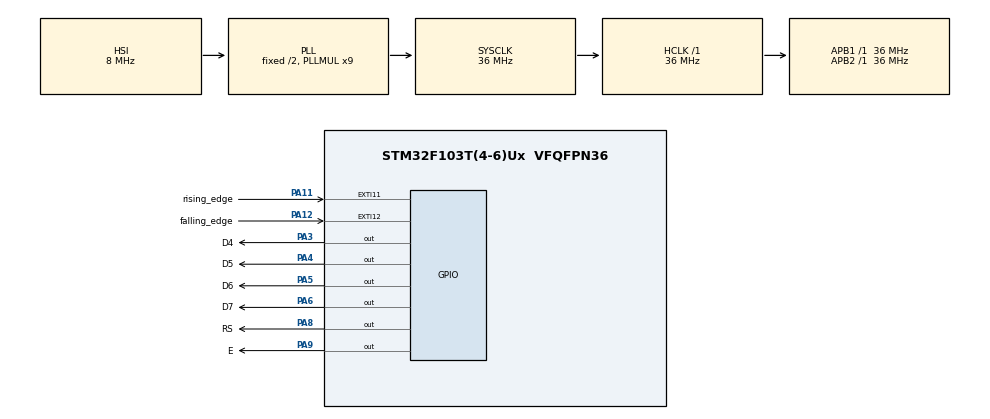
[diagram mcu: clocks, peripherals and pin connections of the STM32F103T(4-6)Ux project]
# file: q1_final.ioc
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Mcu.Family=STM32F1
Mcu.Name=STM32F103T(4-6)Ux
Mcu.Package=VFQFPN36
NVIC.EXTI15_10_IRQn=true\:0\:0\:false\:false\:true\:true\:true\:true
NVIC.PriorityGroup=NVIC_PRIORITYGROUP_4
PA11.GPIO_Label=rising_edge
PA11.Signal=GPXTI11
PA12.GPIO_Label=falling_edge
PA12.GPIO_ModeDefaultEXTI=GPIO_MODE_IT_FALLING
PA12.Signal=GPXTI12
PA3.GPIO_Label=D4
PA3.Signal=GPIO_Output
PA4.GPIO_Label=D5
PA4.Signal=GPIO_Output
PA5.GPIO_Label=D6
PA5.Signal=GPIO_Output
PA6.GPIO_Label=D7
PA6.Signal=GPIO_Output
PA8.GPIO_Label=RS
PA8.Signal=GPIO_Output
PA9.GPIO_Label=E
PA9.Signal=GPIO_Output
ProjectManager.HeapSize=0x200
ProjectManager.StackSize=0x400
ProjectManager.TargetToolchain=STM32CubeIDE
RCC.AHBFreq_Value=36000000
RCC.APB1Freq_Value=36000000
RCC.APB1TimFreq_Value=36000000
RCC.APB2Freq_Value=36000000
RCC.APB2TimFreq_Value=36000000
RCC.HCLKFreq_Value=36000000
RCC.PLLMUL=RCC_PLL_MUL9
RCC.SYSCLKFreq_VALUE=36000000
RCC.SYSCLKSource=RCC_SYSCLKSOURCE_PLLCLK
RCC.USBFreq_Value=36000000
TIM2.Period=65534
TIM2.Prescaler=35
VP_SYS_VS_ND.Mode=No_Debug
VP_TIM2_VS_ClockSourceINT.Mode=Internal
board=custom

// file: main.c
/* USER CODE BEGIN Header */
/**
  ******************************************************************************
  * @file           : main.c
  * @brief          : Main program body
  ******************************************************************************
  * @attention
  *
  * Copyright (c) 2022 STMicroelectronics.
  * All rights reserved.
  *
  * This software is licensed under terms that can be found in the LICENSE file
  * in the root directory of this software component.
  * If no LICENSE file comes with this software, it is provided AS-IS.
  *
  ******************************************************************************
  */
/* USER CODE END Header */
#include "main.h"

/* USER CODE BEGIN Includes */
#include "lcd.h"
#include "stdio.h"
/* USER CODE END Includes */

 TIM_HandleTypeDef htim2;

/* USER CODE BEGIN PV */
 uint16_t condition1 = 0;
 uint16_t first_value;
 uint16_t second_value;
 uint16_t difference;
/* USER CODE END PV */

void SystemClock_Config(void);
static void MX_GPIO_Init(void);
static void MX_TIM2_Init(void);

int main(void)
{

  /* MCU Configuration--------------------------------------------------------*/

  /* Reset of all peripherals, Initializes the Flash interface and the Systick. */
  HAL_Init();

  /* Configure the system clock */
  SystemClock_Config();

  /* Initialize all configured peripherals */
  MX_GPIO_Init();
  MX_TIM2_Init();
  /* USER CODE BEGIN 2 */
  HAL_TIM_Base_Start(&htim2);
  Lcd_PortType ports [] = {
           		D4_GPIO_Port, D5_GPIO_Port, D6_GPIO_Port, D7_GPIO_Port
         };
         Lcd_PinType pins [] = {
           	   D4_Pin, D5_Pin, D6_Pin, D7_Pin
         };

         Lcd_HandleTypeDef lcd = Lcd_create(ports, pins, RS_GPIO_Port, RS_Pin, E_GPIO_Port, E_Pin, LCD_4_BIT_MODE);
  /* USER CODE END 2 */

  /* Infinite loop */
  /* USER CODE BEGIN WHILE */
         int condition2 = 0;

  while (1)
  {
    /* USER CODE END WHILE */

    /* USER CODE BEGIN 3 */
	  if (condition1 == 1){
	  		  if (condition2 == 0)
	  		  {

	  			first_value = __HAL_TIM_GET_COUNTER(&htim2);
	  			condition2 = 1;

	  		  }
	  }
	  if (condition1 == 0){
	  		  if (condition2 == 1)
	  		  {

	  			  second_value = __HAL_TIM_GET_COUNTER(&htim2);
	  			  if (second_value > first_value)
	  				  difference = second_value - first_value;
	  			  Lcd_clear(&lcd);
	  			  Lcd_cursor(&lcd, 0, 0);
	  			  Lcd_float(&lcd, difference / 2);
	  			  Lcd_cursor(&lcd, 1, 0);
	  			  Lcd_float(&lcd, (0.03448 * (difference / 2)));
	  			  condition2 = 0;
	  		  }
	  }
  }
  /* USER CODE END 3 */
}

void SystemClock_Config(void)
{
  RCC_OscInitTypeDef RCC_OscInitStruct = {0};
  RCC_ClkInitTypeDef RCC_ClkInitStruct = {0};

  /** Initializes the RCC Oscillators according to the specified parameters
  * in the RCC_OscInitTypeDef structure.
  */
  RCC_OscInitStruct.OscillatorType = RCC_OSCILLATORTYPE_HSI;
  RCC_OscInitStruct.HSIState = RCC_HSI_ON;
  RCC_OscInitStruct.HSICalibrationValue = RCC_HSICALIBRATION_DEFAULT;
  RCC_OscInitStruct.PLL.PLLState = RCC_PLL_ON;
  RCC_OscInitStruct.PLL.PLLSource = RCC_PLLSOURCE_HSI_DIV2;
  RCC_OscInitStruct.PLL.PLLMUL = RCC_PLL_MUL9;
  if (HAL_RCC_OscConfig(&RCC_OscInitStruct) != HAL_OK)
  {
    Error_Handler();
  }

  /** Initializes the CPU, AHB and APB buses clocks
  */
  RCC_ClkInitStruct.ClockType = RCC_CLOCKTYPE_HCLK|RCC_CLOCKTYPE_SYSCLK
                              |RCC_CLOCKTYPE_PCLK1|RCC_CLOCKTYPE_PCLK2;
  RCC_ClkInitStruct.SYSCLKSource = RCC_SYSCLKSOURCE_PLLCLK;
  RCC_ClkInitStruct.AHBCLKDivider = RCC_SYSCLK_DIV1;
  RCC_ClkInitStruct.APB1CLKDivider = RCC_HCLK_DIV1;
  RCC_ClkInitStruct.APB2CLKDivider = RCC_HCLK_DIV1;

  if (HAL_RCC_ClockConfig(&RCC_ClkInitStruct, FLASH_LATENCY_1) != HAL_OK)
  {
    Error_Handler();
  }
}

static void MX_TIM2_Init(void)
{

  TIM_ClockConfigTypeDef sClockSourceConfig = {0};
  TIM_MasterConfigTypeDef sMasterConfig = {0};

  htim2.Instance = TIM2;
  htim2.Init.Prescaler = 35;
  htim2.Init.CounterMode = TIM_COUNTERMODE_UP;
  htim2.Init.Period = 65534;
  htim2.Init.ClockDivision = TIM_CLOCKDIVISION_DIV1;
  htim2.Init.AutoReloadPreload = TIM_AUTORELOAD_PRELOAD_DISABLE;
  if (HAL_TIM_Base_Init(&htim2) != HAL_OK)
  {
    Error_Handler();
  }
  sClockSourceConfig.ClockSource = TIM_CLOCKSOURCE_INTERNAL;
  if (HAL_TIM_ConfigClockSource(&htim2, &sClockSourceConfig) != HAL_OK)
  {
    Error_Handler();
  }
  sMasterConfig.MasterOutputTrigger = TIM_TRGO_RESET;
  sMasterConfig.MasterSlaveMode = TIM_MASTERSLAVEMODE_DISABLE;
  if (HAL_TIMEx_MasterConfigSynchronization(&htim2, &sMasterConfig) != HAL_OK)
  {
    Error_Handler();
  }

}

static void MX_GPIO_Init(void)
{
  GPIO_InitTypeDef GPIO_InitStruct = {0};

  /* GPIO Ports Clock Enable */
  __HAL_RCC_GPIOA_CLK_ENABLE();

  /*Configure GPIO pin Output Level */
  HAL_GPIO_WritePin(GPIOA, D4_Pin|D5_Pin|D6_Pin|D7_Pin
                          |RS_Pin|E_Pin, GPIO_PIN_RESET);

  /*Configure GPIO pins : D4_Pin D5_Pin D6_Pin D7_Pin
                           RS_Pin E_Pin */
  GPIO_InitStruct.Pin = D4_Pin|D5_Pin|D6_Pin|D7_Pin
                          |RS_Pin|E_Pin;
  GPIO_InitStruct.Mode = GPIO_MODE_OUTPUT_PP;
  GPIO_InitStruct.Pull = GPIO_NOPULL;
  GPIO_InitStruct.Speed = GPIO_SPEED_FREQ_LOW;
  HAL_GPIO_Init(GPIOA, &GPIO_InitStruct);

  /*Configure GPIO pin : rising_edge_Pin */
  GPIO_InitStruct.Pin = rising_edge_Pin;
  GPIO_InitStruct.Mode = GPIO_MODE_IT_RISING;
  GPIO_InitStruct.Pull = GPIO_NOPULL;
  HAL_GPIO_Init(rising_edge_GPIO_Port, &GPIO_InitStruct);

  /*Configure GPIO pin : falling_edge_Pin */
  GPIO_InitStruct.Pin = falling_edge_Pin;
  GPIO_InitStruct.Mode = GPIO_MODE_IT_FALLING;
  GPIO_InitStruct.Pull = GPIO_NOPULL;
  HAL_GPIO_Init(falling_edge_GPIO_Port, &GPIO_InitStruct);

  /* EXTI interrupt init*/
  HAL_NVIC_SetPriority(EXTI15_10_IRQn, 0, 0);
  HAL_NVIC_EnableIRQ(EXTI15_10_IRQn);

}

/* USER CODE BEGIN 4 */
void HAL_GPIO_EXTI_Callback(uint16_t GPIO_Pin)
{
    if (GPIO_Pin == rising_edge_Pin)
    	condition1 = 1;
    if (GPIO_Pin == falling_edge_Pin)
    	condition1 = 0;
}
/* USER CODE END 4 */

void Error_Handler(void)
{
  __disable_irq();
  while (1)
  {
  }
}
